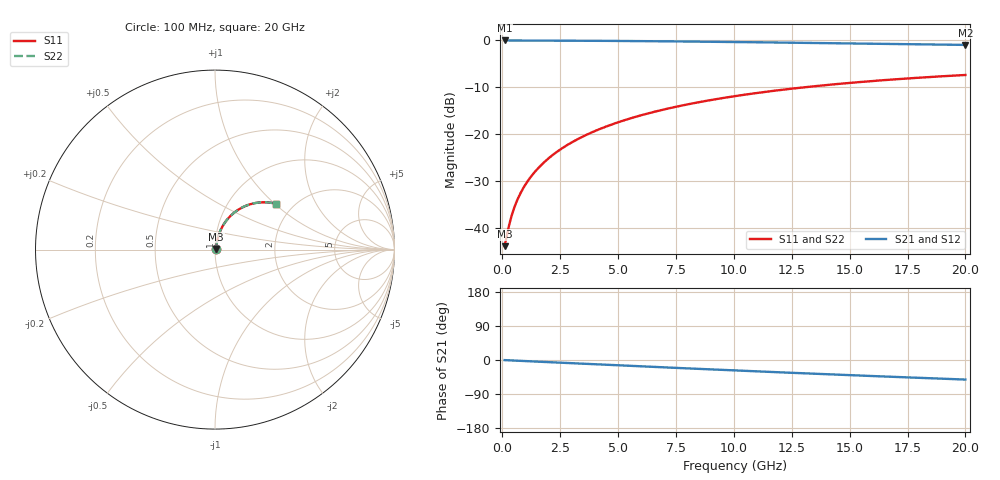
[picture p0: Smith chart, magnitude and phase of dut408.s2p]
! Touchstone file exported from HFSS 2026.1.0
!  File:  C:/ffzhzh/LocalFiles/Ansys_Project_Files/temp_train_TMRDL_408_1783005032_4048.aedt
!  Generated:  11:11:58 PM Jul  2, 2026
!  Design:  TMRDL
!  Project:  temp_train_TMRDL_408_1783005032_4048
! Variables:
!  h_bsmrdl = 2um
!  h_ox = 20um
!  h_rdl = 5um
!  h_sub = 80um
!  h_tmrdl = 2.27um
!  h_tsv = 80um
!  h_via = 3um
!  l_bsmrdl = 300um
!  l_sub = 1191.27um
!  l_tmrdl = 791.27um
!  m_sub = 200um
!  pitch = 45.55um
!  r_tsv = 6um
!  s_tmrdl = 10um
!  w_bsmrdl = 18um
!  w_sub = 500um
!  w_tmrdl = 23.1um
!  x_tsv_center1 = 802.82um
!  x_tsv_center2 = 1120.82um
!  x_tsv_center3 = 1935.19um
!  x_tsv_center4 = 2253.19um
!  x_tsv_center5 = 3067.56um
!  x_tsv_center6 = 3385.56um
# GHz S MA R 50.000000
! Terminal data exported
! Port[1] = TM_RDL1_1_T1
! Port[2] = TM_RDL1_1_T2
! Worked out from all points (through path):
!   200 points, 100 MHz to 20 GHz, reference 50 ohm
!   highest |S21| = -0.05 dB at 100 MHz (marker M1); lowest = -1.0 dB at 20 GHz (marker M2)
!   group delay of S21, straight-line fit = 7.19 ps
!   lowest |S11| = -43.9 dB at 100 MHz (marker M3), VSWR 1.01, Z = 50.6 + j0.307 ohm
!   |S11| at or under -10 dB: start of sweep to 13.11 GHz
!   |S22| runs from -43.9 to -7.4 dB; largest |S21 - S12| = 2e-15
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0.1  0.006379 28.5  0.9944 -0.3  0.9944 -0.3  0.006379 28.5
! Gamma 0 0 0 0
! Port Impedance 50 0 50 0
0.3  0.01081 55.6  0.994 -0.9  0.994 -0.9  0.01081 55.6
0.4  0.01338 61.2  0.9937 -1.2  0.9937 -1.2  0.01338 61.2
0.5  0.01598 64.8  0.9935 -1.5  0.9935 -1.5  0.01598 64.8
0.6  0.01858 67.3  0.9932 -1.8  0.9932 -1.8  0.01858 67.3
0.8  0.02376 70.7  0.9928 -2.3  0.9928 -2.3  0.02376 70.7
1  0.02894 72.8  0.9924 -2.9  0.9924 -2.9  0.02894 72.8
1.2  0.03414 74.2  0.9921 -3.4  0.9921 -3.4  0.03414 74.2
1.4  0.03937 75.1  0.9918 -4.0  0.9918 -4.0  0.03936 75.1
1.7  0.04724 76.0  0.9914 -4.8  0.9914 -4.8  0.04724 76.0
2.2  0.06041 76.4  0.9905 -6.2  0.9905 -6.2  0.06041 76.4
2.8  0.07622 76.2  0.9892 -7.9  0.9892 -7.9  0.07622 76.2
3.5  0.0946 75.3  0.9875 -9.8  0.9875 -9.8  0.0946 75.3
4.2  0.1128 74.0  0.9854 -11.8  0.9854 -11.8  0.1128 74.0
5  0.1334 72.3  0.9826 -14.0  0.9826 -14.0  0.1334 72.4
5.9  0.1561 70.3  0.979 -16.5  0.979 -16.5  0.1561 70.3
6.8  0.1783 68.2  0.9749 -18.9  0.9749 -18.9  0.1783 68.2
8.3  0.2141 64.5  0.9672 -22.9  0.9672 -22.9  0.2141 64.5
10.1  0.2547 60.0  0.9567 -27.7  0.9567 -27.7  0.2547 60.0
13.4  0.3218 51.9  0.9353 -36.0  0.9353 -36.0  0.3217 52.0
16.7  0.3789 44.1  0.913 -44.0  0.913 -44.0  0.3789 44.2
20  0.4261 36.7  0.8916 -51.6  0.8916 -51.6  0.4261 36.7
